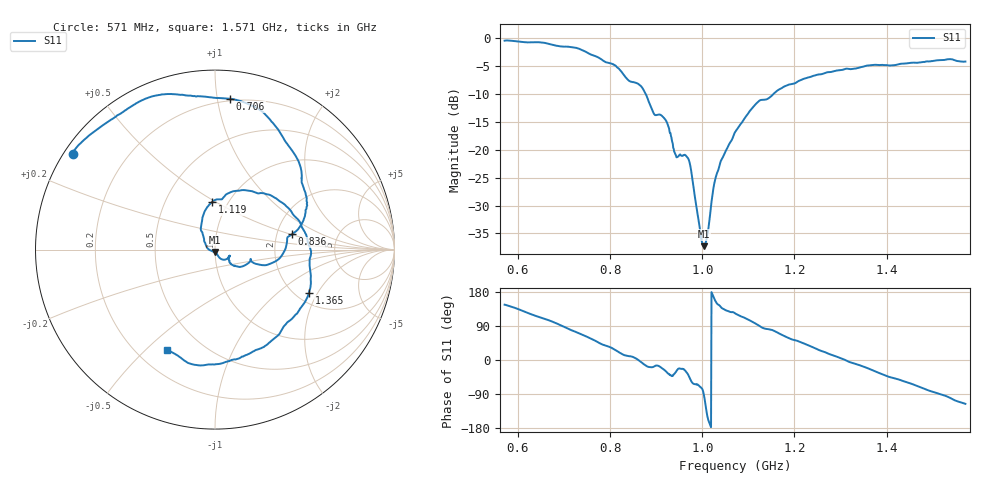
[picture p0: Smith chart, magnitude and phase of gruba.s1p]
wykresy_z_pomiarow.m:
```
% Wczytaj plik s1p
S = sparameters('gruba.s1p');

% Ekstrakcja częstotliwości (w Hz)
freq = S.Frequencies;

% Ekstrakcja parametru S11
S11 = rfparam(S, 1, 1);

% Przeliczenie do dB
S11_dB = 20*log10(abs(S11));

% Rysowanie wykresu
figure;
plot(freq/1e9, S11_dB, 'LineWidth', 1.5);
grid on;
xlabel('Częstotliwość [GHz]');
ylabel('|S_{11}| [dB]');
title('Charakterystyka |S_{11}| w funkcji częstotliwości');
```
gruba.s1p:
# GHZ S DB R 50.000000000000
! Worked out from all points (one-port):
!   1001 points, 571 MHz to 1.571 GHz, reference 50 ohm
!   lowest |S11| = -37.3 dB at 1.003 GHz (marker M1), VSWR 1.03, Z = 50 - j1.37 ohm
!   |S11| at or under -10 dB: 877.4 MHz to 1.154 GHz (276.4 MHz wide, 27.2 % of centre)
!   S11 on the Smith chart (normalised r, x): 571 MHz: 0.02, +0.31; 706 MHz: 0.19, +1.09; 836 MHz: 2.43, +0.51; 1.119 GHz: 0.84, +0.48; 1.365 GHz: 2.35, -1.69; 1.571 GHz: 0.32, -0.58
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0.571  -0.40 146.0
0.645  -0.68 113.7
0.706  -1.47 84.2
0.777  -3.54 44.5
0.836  -7.19 11.2
0.905  -13.67 -15.6
0.97  -21.65 -40.4
1.003  -37.29 -89.1
1.041  -21.86 138.6
1.119  -11.53 93.7
1.238  -6.80 34.7
1.365  -4.79 -24.6
1.488  -4.12 -79.0
1.571  -4.14 -115.6
